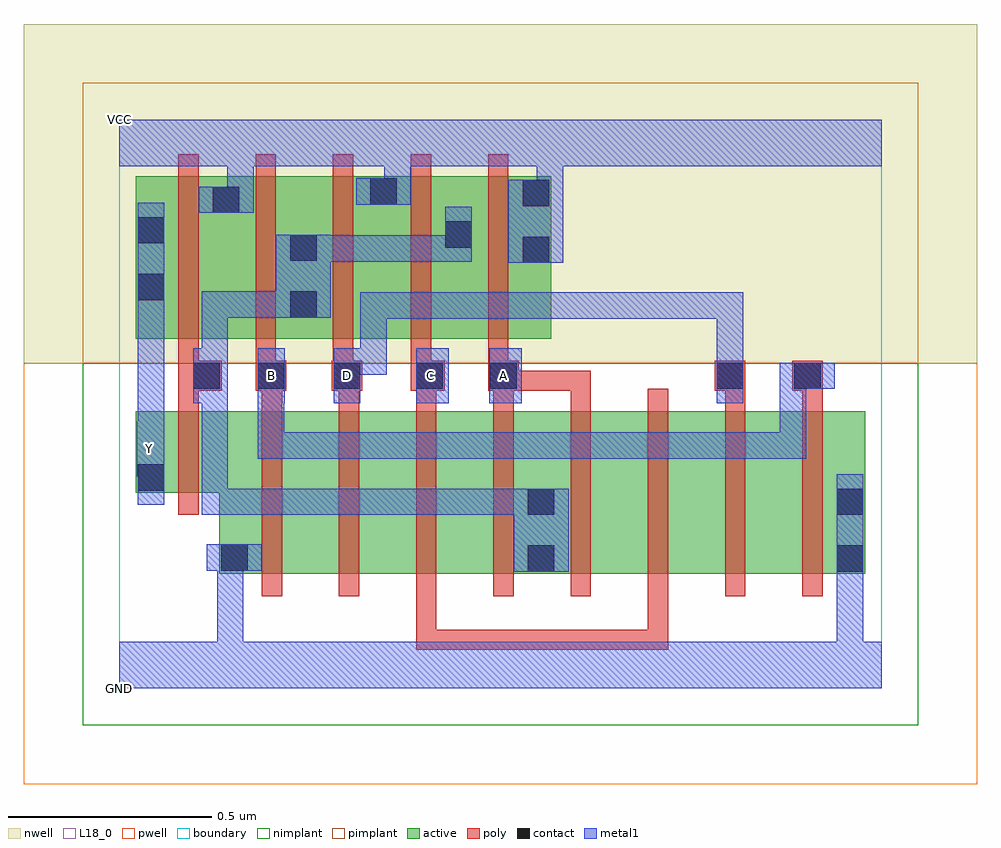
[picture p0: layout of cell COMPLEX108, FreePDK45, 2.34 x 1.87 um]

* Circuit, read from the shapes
.subckt COMPLEX108 A B C D GND VCC Y
M1 GND n1 Y VSUBS nfet w=0.2u l=0.05u
M2 n2 B GND VSUBS nfet w=0.4u l=0.05u
M3 n3 D n2 VSUBS nfet w=0.4u l=0.05u
M4 n4 C n3 VSUBS nfet w=0.4u l=0.05u
M5 n1 A n4 VSUBS nfet w=0.4u l=0.05u
M6 n5 A n1 VSUBS nfet w=0.4u l=0.05u
M7 n6 C n5 VSUBS nfet w=0.4u l=0.05u
M8 n7 D n6 VSUBS nfet w=0.4u l=0.05u
M9 GND B n7 VSUBS nfet w=0.4u l=0.05u
M10 VCC n1 Y n8 pfet w=0.4u l=0.05u
M11 n1 B VCC n8 pfet w=0.4u l=0.05u
M12 VCC D n1 n8 pfet w=0.4u l=0.05u
M13 n1 C VCC n8 pfet w=0.4u l=0.05u
M14 VCC A n1 n8 pfet w=0.4u l=0.05u
.ends

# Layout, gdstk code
import gdstk
lib = gdstk.Library(unit=1e-6, precision=1e-09)
def R(c, l, rs):  # rectangles x0, y0, x1, y1
    for r in rs: c.add(gdstk.rectangle(r[:2], r[2:], *l))
def A(c, l, x, y, w, h, nx, ny, dx, dy):  # array of equal rectangles
    R(c, l, [(x+i*dx, y+j*dy, x+i*dx+w, y+j*dy+h) for i in range(nx) for j in range(ny)])
active = (1, 0)
pwell = (2, 0)
nwell = (3, 0)
nimplant = (4, 0)
pimplant = (5, 0)
poly = (9, 0)
contact = (10, 0)
metal1 = (11, 0)
L18_0 = (18, 0)
boundary = (235, 0)

complex108 = lib.new_cell('COMPLEX108')
R(complex108, active, [(0.245,0.282,0.47,0.682), (0.47,0.282,0.66,0.682), (0.66,0.282,0.85,0.682), (0.85,0.282,1.075,0.682), (1,0.282,1.23,0.682), (1,0.282,1.075,0.617), (1.23,0.282,1.42,0.682), (1.42,0.282,1.61,0.682), (1.61,0.282,1.835,0.682), (1.76,0.282,1.835,0.682), (0.245,0.285,0.32,0.537), (0.04,0.482,0.32,0.682), (0.04,0.482,0.115,0.682), (0.04,0.86,0.3,1.26), (0.04,0.86,0.115,1.2), (0.225,0.86,0.49,1.26), (0.415,0.86,0.687,1.26), (0.612,0.86,0.872,1.26), (0.797,0.86,1.062,1.26), (0.987,0.86,1.062,1.26), (0.225,0.907,0.3,1.26), (0.415,0.907,0.49,1.2), (0.612,0.907,0.687,1.26), (0.797,0.907,0.872,1.2)])
R(complex108, pwell, [(-0.235,-0.235,2.11,0.8)])
R(complex108, nwell, [(-0.235,0.8,2.11,1.635)])
R(complex108, nimplant, [(-0.09,-0.09,1.965,0.8)])
R(complex108, pimplant, [(-0.09,0.8,1.965,1.49)])
A(complex108, poly, 0.35, 0.227, 0.05, 0.51, 8, 1, 0.19, 0)
A(complex108, poly, 0.35, 0.687, 0.05, 0.095, 5, 1, 0.19, 0)
A(complex108, poly, 0.145, 0.757, 0.05, 0.098, 3, 1, 0.19, 0)
A(complex108, poly, 0.145, 0.805, 0.05, 0.51, 3, 1, 0.19, 0)
R(complex108, poly, [(0.73,0.095,0.78,0.277), (0.73,0.095,0.78,0.145), (0.73,0.095,0.78,0.145), (0.73,0.095,0.78,0.145), (0.73,0.095,0.982,0.145), (0.932,0.095,0.982,0.145), (0.932,0.095,1.115,0.145), (1.065,0.095,1.115,0.145), (1.065,0.095,1.115,0.145), (1.065,0.095,1.115,0.145), (1.065,0.095,1.35,0.145), (1.3,0.095,1.35,0.277), (1.3,0.095,1.35,0.145), (1.3,0.095,1.35,0.145), (1.3,0.095,1.35,0.145), (0.145,0.427,0.195,0.737), (0.145,0.687,0.195,0.782), (1.49,0.687,1.54,0.782), (1.68,0.687,1.73,0.782), (0.145,0.732,0.252,0.807), (0.335,0.732,0.41,0.807), (0.522,0.732,0.597,0.807), (0.717,0.732,0.8,0.807), (0.907,0.732,0.982,0.807), (0.932,0.732,1.16,0.782), (1.11,0.732,1.16,0.782), (1.11,0.732,1.16,0.782), (1.11,0.732,1.16,0.782), (1.465,0.732,1.54,0.807), (1.655,0.732,1.73,0.807), (0.717,0.757,0.767,0.855), (0.907,0.757,0.957,0.855), (0.717,0.805,0.767,1.315), (0.907,0.805,0.957,1.315)])
R(complex108, contact, [(1.005,0.287,1.07,0.352), (1.765,0.287,1.83,0.352), (0.25,0.29,0.315,0.355), (1.005,0.427,1.07,0.492), (1.765,0.427,1.83,0.492), (0.045,0.487,0.11,0.552), (0.182,0.737,0.247,0.802), (0.34,0.737,0.405,0.802), (0.527,0.737,0.592,0.802), (0.73,0.737,0.795,0.802), (0.912,0.737,0.977,0.802), (1.47,0.737,1.535,0.802), (1.66,0.737,1.725,0.802), (0.42,0.912,0.485,0.977), (0.045,0.955,0.11,1.02), (0.992,1.047,1.057,1.112), (0.42,1.052,0.485,1.117), (0.802,1.085,0.867,1.15), (0.045,1.095,0.11,1.16), (0.23,1.17,0.295,1.235), (0.992,1.187,1.057,1.252), (0.617,1.19,0.682,1.255)])
R(complex108, metal1, [(0,0,1.875,0.115), (0.24,0.05,0.305,0.115), (0.24,0.05,0.305,0.115), (0.24,0.05,0.305,0.115), (0.24,0.05,0.305,0.115), (0.24,0.05,0.305,0.355), (1.765,0.05,1.83,0.317), (1.765,0.05,1.83,0.115), (1.765,0.05,1.83,0.115), (1.765,0.05,1.83,0.115), (1.765,0.05,1.83,0.115), (1.765,0.252,1.83,0.527), (0.97,0.287,1.105,0.492), (0.215,0.29,0.35,0.355), (0.202,0.427,0.267,0.492), (0.202,0.427,0.405,0.492), (0.202,0.427,0.267,0.767), (0.34,0.427,0.405,0.492), (0.34,0.427,0.405,0.492), (0.34,0.427,0.405,0.492), (0.34,0.427,0.657,0.492), (0.592,0.427,0.657,0.492), (0.592,0.427,0.657,0.492), (0.592,0.427,0.657,0.492), (0.592,0.427,0.795,0.492), (0.73,0.427,0.795,0.492), (0.73,0.427,0.795,0.492), (0.73,0.427,0.795,0.492), (0.73,0.427,1.035,0.492), (0.97,0.427,1.035,0.492), (0.97,0.427,1.035,0.492), (0.045,0.452,0.11,0.587), (0.042,0.522,0.11,0.657), (0.045,0.522,0.11,0.587), (0.34,0.565,0.405,0.63), (0.34,0.565,0.657,0.63), (0.34,0.565,0.405,0.767), (0.592,0.565,0.657,0.63), (0.592,0.565,0.657,0.63), (0.592,0.565,0.657,0.63), (0.592,0.565,0.837,0.63), (0.772,0.565,0.837,0.63), (0.772,0.565,0.837,0.63), (0.772,0.565,0.837,0.63), (0.772,0.565,1.075,0.63), (1.01,0.565,1.075,0.63), (1.01,0.565,1.075,0.63), (1.01,0.565,1.075,0.63), (1.01,0.565,1.26,0.63), (1.195,0.565,1.26,0.63), (1.195,0.565,1.397,0.63), (1.332,0.565,1.397,0.63), (1.332,0.565,1.397,0.63), (1.332,0.565,1.397,0.63), (1.332,0.565,1.552,0.63), (1.487,0.565,1.552,0.63), (1.487,0.565,1.552,0.63), (1.487,0.565,1.552,0.63), (1.487,0.565,1.69,0.63), (1.625,0.565,1.69,0.63), (1.625,0.565,1.69,0.802), (0.045,0.592,0.11,0.985), (0.182,0.702,0.247,0.837), (0.182,0.702,0.267,0.767), (0.202,0.702,0.267,0.977), (0.202,0.702,0.267,0.767), (0.202,0.702,0.267,0.767), (0.202,0.702,0.267,0.767), (0.34,0.702,0.405,0.767), (0.34,0.702,0.407,0.767), (0.34,0.702,0.407,0.837), (0.527,0.702,0.592,0.837), (0.73,0.702,0.81,0.837), (0.91,0.702,0.99,0.837), (1.47,0.702,1.535,0.837), (1.625,0.737,1.69,0.802), (1.625,0.737,1.69,0.802), (1.625,0.737,1.76,0.802), (0.527,0.772,0.657,0.837), (0.592,0.772,0.657,0.837), (0.592,0.772,0.657,0.975), (1.47,0.772,1.535,0.837), (1.47,0.772,1.535,0.837), (1.47,0.772,1.535,0.975), (0.592,0.91,0.657,0.975), (0.592,0.91,0.837,0.975), (0.772,0.91,0.837,0.975), (0.772,0.91,0.837,0.975), (0.772,0.91,0.837,0.975), (0.772,0.91,1.075,0.975), (1.01,0.91,1.075,0.975), (1.01,0.91,1.075,0.975), (1.01,0.91,1.075,0.975), (1.01,0.91,1.257,0.975), (1.192,0.91,1.257,0.975), (1.192,0.91,1.397,0.975), (1.332,0.91,1.397,0.975), (1.332,0.91,1.397,0.975), (1.332,0.91,1.397,0.975), (1.332,0.91,1.535,0.975), (1.47,0.91,1.535,0.975), (0.202,0.912,0.267,0.977), (0.202,0.912,0.45,0.977), (0.385,0.912,0.45,0.977), (0.385,0.912,0.45,0.977), (0.385,0.912,0.52,1.117), (0.045,0.92,0.11,1.195), (0.957,1.047,1.092,1.252), (0.445,1.05,0.51,1.115), (0.445,1.05,0.657,1.115), (0.445,1.05,0.51,1.117), (0.592,1.05,0.657,1.115), (0.592,1.05,0.657,1.115), (0.592,1.05,0.657,1.115), (0.592,1.05,0.837,1.115), (0.772,1.05,0.837,1.115), (0.772,1.05,0.867,1.115), (0.802,1.05,0.867,1.185), (0.195,1.17,0.33,1.235), (0.265,1.17,0.33,1.35), (1.027,1.187,1.092,1.35), (0.582,1.19,0.717,1.255), (0.652,1.19,0.717,1.35), (0,1.285,1.875,1.4)])
R(complex108, L18_0, [(0,0,1.875,0.115), (0.24,0.05,0.305,0.115), (0.24,0.05,0.305,0.115), (0.24,0.05,0.305,0.115), (0.24,0.05,0.305,0.115), (0.24,0.05,0.305,0.355), (1.765,0.05,1.83,0.115), (1.765,0.05,1.83,0.115), (1.765,0.05,1.83,0.115), (1.765,0.05,1.83,0.115), (1.765,0.05,1.83,0.317), (1.765,0.252,1.83,0.527), (0.215,0.29,0.35,0.355), (0.045,0.452,0.11,0.587), (0.042,0.522,0.11,0.657), (0.045,0.522,0.11,0.587), (0.042,0.557,0.107,0.622), (0.34,0.565,0.405,0.63), (0.34,0.565,0.405,0.767), (0.34,0.565,0.657,0.63), (0.592,0.565,0.657,0.63), (0.592,0.565,0.657,0.63), (0.592,0.565,0.657,0.63), (0.592,0.565,0.837,0.63), (0.772,0.565,0.837,0.63), (0.772,0.565,0.837,0.63), (0.772,0.565,0.837,0.63), (0.772,0.565,1.075,0.63), (1.01,0.565,1.075,0.63), (1.01,0.565,1.075,0.63), (1.01,0.565,1.075,0.63), (1.01,0.565,1.26,0.63), (1.195,0.565,1.26,0.63), (1.195,0.565,1.397,0.63), (1.332,0.565,1.397,0.63), (1.332,0.565,1.397,0.63), (1.332,0.565,1.397,0.63), (1.332,0.565,1.552,0.63), (1.487,0.565,1.552,0.63), (1.487,0.565,1.552,0.63), (1.487,0.565,1.552,0.63), (1.487,0.565,1.69,0.63), (1.625,0.565,1.69,0.63), (1.625,0.565,1.69,0.802), (0.045,0.592,0.11,0.985), (0.34,0.702,0.405,0.767), (0.34,0.702,0.407,0.837), (0.34,0.702,0.407,0.767), (0.527,0.702,0.592,0.837), (0.73,0.702,0.81,0.837), (0.91,0.702,0.99,0.837), (1.47,0.702,1.535,0.837), (0.342,0.737,0.407,0.802), (0.527,0.737,0.592,0.802), (0.732,0.737,0.797,0.802), (0.912,0.737,0.977,0.802), (1.625,0.737,1.69,0.802), (1.625,0.737,1.69,0.802), (1.625,0.737,1.76,0.802), (0.527,0.772,0.657,0.837), (0.592,0.772,0.657,0.837), (0.592,0.772,0.657,0.975), (1.47,0.772,1.535,0.837), (1.47,0.772,1.535,0.837), (1.47,0.772,1.535,0.975), (0.592,0.91,0.657,0.975), (0.592,0.91,0.837,0.975), (0.772,0.91,0.837,0.975), (0.772,0.91,0.837,0.975), (0.772,0.91,0.837,0.975), (0.772,0.91,1.075,0.975), (1.01,0.91,1.075,0.975), (1.01,0.91,1.075,0.975), (1.01,0.91,1.075,0.975), (1.01,0.91,1.257,0.975), (1.192,0.91,1.257,0.975), (1.192,0.91,1.397,0.975), (1.332,0.91,1.397,0.975), (1.332,0.91,1.397,0.975), (1.332,0.91,1.397,0.975), (1.332,0.91,1.535,0.975), (1.47,0.91,1.535,0.975), (0.045,0.92,0.11,1.195), (0.957,1.047,1.092,1.252), (0.195,1.17,0.33,1.235), (0.265,1.17,0.33,1.35), (1.027,1.187,1.092,1.35), (0.582,1.19,0.717,1.255), (0.652,1.19,0.717,1.35), (0,1.285,1.875,1.4)])
R(complex108, boundary, [(0,0,1.875,1.4)])
complex108.add(gdstk.Label('A', (0.945,0.77), layer=11, texttype=0))
complex108.add(gdstk.Label('B', (0.375,0.77), layer=11, texttype=0))
complex108.add(gdstk.Label('C', (0.765,0.77), layer=11, texttype=0))
complex108.add(gdstk.Label('D', (0.56,0.77), layer=11, texttype=0))
complex108.add(gdstk.Label('Y', (0.075,0.59), layer=11, texttype=0))
complex108.add(gdstk.Label('VCC', (0,1.4), layer=11, texttype=0))
complex108.add(gdstk.Label('GND', (0,0), layer=11, texttype=0))

lib.write_gds('COMPLEX108.gds')
